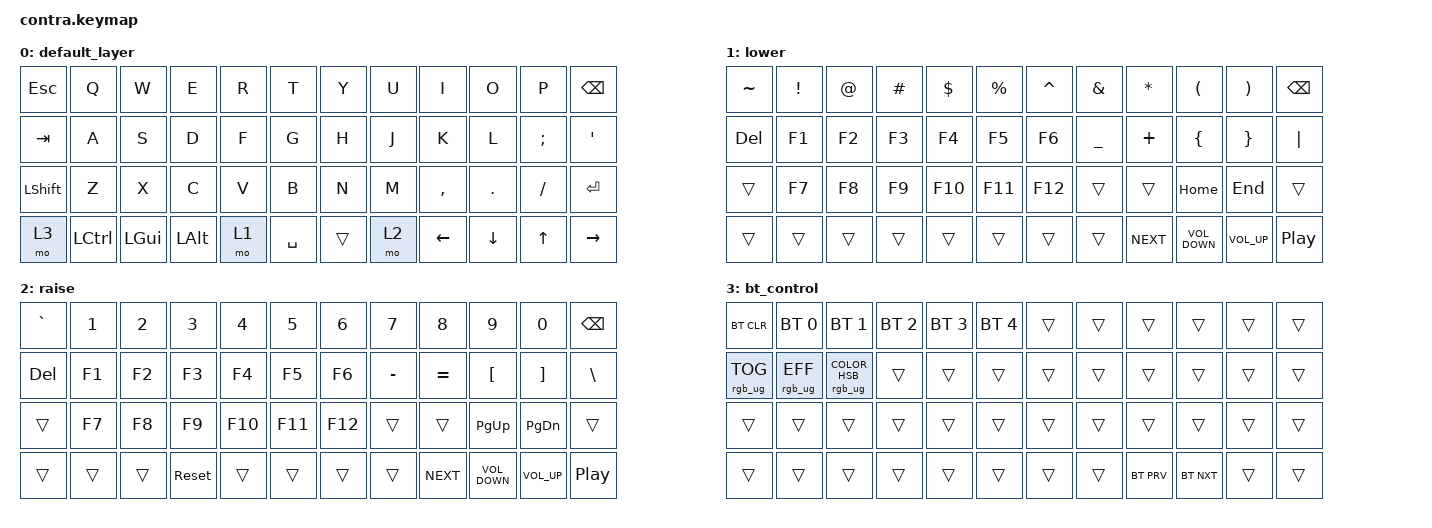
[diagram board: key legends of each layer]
/*
 * Copyright (c) 2021 The ZMK Contributors
 *
 * SPDX-License-Identifier: MIT
 */

#include <behaviors.dtsi>
#include <dt-bindings/zmk/bt.h>
#include <dt-bindings/zmk/keys.h>
#include <dt-bindings/zmk/rgb.h>

#define DEFAULT  0
#define LOWER    1
#define RAISE    2
#define BT_CTRL  3

&led_strip { chain-length = <5>; };

/ {
    keymap {
        compatible = "zmk,keymap";

        default_layer {
            bindings = <
&kp ESC    &kp Q      &kp W         &kp E         &kp R  &kp T      &kp Y   &kp U  &kp I      &kp O           &kp P     &kp BSPC
&kp TAB    &kp A      &kp S         &kp D         &kp F  &kp G      &kp H   &kp J  &kp K      &kp L           &kp SEMI  &kp SQT
&kp LSHFT  &kp Z      &kp X         &kp C         &kp V  &kp B      &kp N   &kp M  &kp COMMA  &kp DOT         &kp FSLH  &kp ENTER
&mo 3      &kp LCTRL  &kp LEFT_GUI  &kp LEFT_ALT  &mo 1  &kp SPACE  &trans  &mo 2  &kp LEFT   &kp DOWN_ARROW  &kp UP    &kp RIGHT
            >;
        };

        lower {
            bindings = <
&kp TILDE   &kp EXCL  &kp AT  &kp HASH  &kp DOLLAR  &kp PERCENT  &kp CARET  &kp AMPS   &kp ASTRK   &kp LEFT_PARENTHESIS  &kp RIGHT_PARENTHESIS  &kp BACKSPACE
&kp DELETE  &kp F1    &kp F2  &kp F3    &kp F4      &kp F5       &kp F6     &kp UNDER  &kp PLUS    &kp LEFT_BRACE        &kp RIGHT_BRACE        &kp PIPE
&trans      &kp F7    &kp F8  &kp F9    &kp F10     &kp F11      &kp F12    &trans     &trans      &kp HOME              &kp END                &trans
&trans      &trans    &trans  &trans    &trans      &trans       &trans     &trans     &kp C_NEXT  &kp C_VOLUME_DOWN     &kp C_VOLUME_UP        &kp C_PLAY_PAUSE
            >;
        };

        raise {
            bindings = <
&kp GRAVE  &kp N1  &kp N2  &kp N3      &kp N4   &kp N5   &kp N6   &kp N7     &kp N8      &kp N9             &kp N0           &kp BACKSPACE
&kp DEL    &kp F1  &kp F2  &kp F3      &kp F4   &kp F5   &kp F6   &kp MINUS  &kp EQUAL   &kp LBKT           &kp RBKT         &kp BSLH
&trans     &kp F7  &kp F8  &kp F9      &kp F10  &kp F11  &kp F12  &trans     &trans      &kp PAGE_UP        &kp PAGE_DOWN    &trans
&trans     &trans  &trans  &sys_reset  &trans   &trans   &trans   &trans     &kp C_NEXT  &kp C_VOLUME_DOWN  &kp C_VOLUME_UP  &kp C_PLAY_PAUSE
            >;
        };

        bt_control {
            bindings = <
&bt BT_CLR       &bt BT_SEL 0     &bt BT_SEL 1                      &bt BT_SEL 2  &bt BT_SEL 3  &bt BT_SEL 4  &trans  &trans  &trans      &trans      &trans  &trans
&rgb_ug RGB_TOG  &rgb_ug RGB_EFF  &rgb_ug RGB_COLOR_HSB(292,97,51)  &trans        &trans        &trans        &trans  &trans  &trans      &trans      &trans  &trans
&trans           &trans           &trans                            &trans        &trans        &trans        &trans  &trans  &trans      &trans      &trans  &trans
&trans           &trans           &trans                            &trans        &trans        &trans        &trans  &trans  &bt BT_PRV  &bt BT_NXT  &trans  &trans
            >;
        };
    };
};
